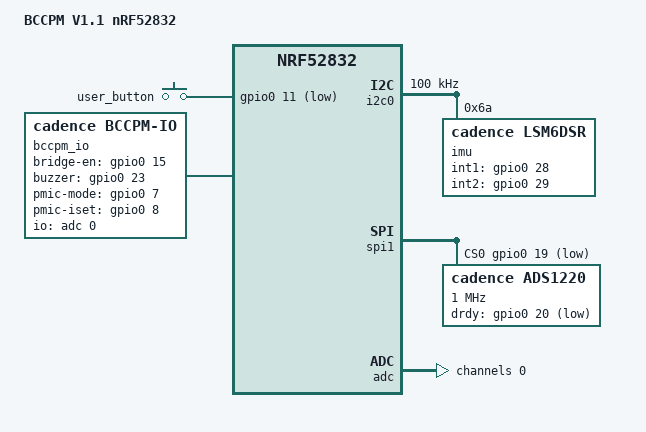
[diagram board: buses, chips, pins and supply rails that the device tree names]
/dts-v1/;
#include <nordic/nrf52832_qfaa.dtsi>
#include <zephyr/dt-bindings/gpio/gpio.h>
#include <zephyr/dt-bindings/i2c/i2c.h>
#include <zephyr/dt-bindings/adc/adc.h>
#include <zephyr/dt-bindings/adc/nrf-saadc.h>
#include <zephyr/dt-bindings/input/input-event-codes.h>
#include "bccpm_nrf52832-pinctrl.dtsi"

/ {
	model = "BCCPM V1.1 nRF52832";
	compatible = "cadence,bccpm-v1-1";
	chosen {
		zephyr,sram = &sram0;
		zephyr,flash = &flash0;
	};

	aliases {
		sw0 = &user_button;
	};

	buttons {
		compatible = "gpio-keys";
		user_button: user-button {
			gpios = <&gpio0 11 (GPIO_PULL_UP | GPIO_ACTIVE_LOW)>;
			zephyr,code = <INPUT_KEY_0>;
		};
	};

	bccpm_io: board-io {
		compatible = "cadence,bccpm-io";
		bridge-en-gpios = <&gpio0 15 GPIO_ACTIVE_HIGH>;
		buzzer-gpios = <&gpio0 23 GPIO_ACTIVE_HIGH>;
		pmic-mode-gpios = <&gpio0 7 GPIO_ACTIVE_HIGH>;
		pmic-iset-gpios = <&gpio0 8 GPIO_ACTIVE_HIGH>;
		/* Raw pin references only: polarity and safe behavior unverified. */
		bat-mon-en-pin = <6>;
		power-off-pin = <22>;
		io-channels = <&adc 0>;
	};
};

&gpio0 { status = "okay"; };
&gpiote { status = "okay"; };
&uicr { gpio-as-nreset; };
&uart0 { status = "disabled"; };

&i2c0 {
	compatible = "nordic,nrf-twim";
	status = "okay";
	clock-frequency = <I2C_BITRATE_STANDARD>;
	pinctrl-0 = <&bccpm_i2c0_default>;
	pinctrl-1 = <&bccpm_i2c0_sleep>;
	pinctrl-names = "default", "sleep";
	imu: imu@6a {
		compatible = "cadence,lsm6dsr";
		reg = <0x6a>;
		int1-gpios = <&gpio0 28 GPIO_ACTIVE_HIGH>;
		int2-gpios = <&gpio0 29 GPIO_ACTIVE_HIGH>;
	};
};

&spi1 {
	compatible = "nordic,nrf-spim";
	status = "okay";
	pinctrl-0 = <&bccpm_spi1_default>;
	pinctrl-1 = <&bccpm_spi1_sleep>;
	pinctrl-names = "default", "sleep";
	cs-gpios = <&gpio0 19 GPIO_ACTIVE_LOW>;
	ads1220: adc@0 {
		compatible = "cadence,ads1220";
		reg = <0>;
		spi-max-frequency = <1000000>;
		spi-cpha;
		drdy-gpios = <&gpio0 20 GPIO_ACTIVE_LOW>;
	};
};

&adc {
	status = "okay";
	#address-cells = <1>;
	#size-cells = <0>;
	channel@0 {
		reg = <0>;
		zephyr,gain = "ADC_GAIN_1_6";
		zephyr,reference = "ADC_REF_INTERNAL";
		zephyr,acquisition-time = <ADC_ACQ_TIME(ADC_ACQ_TIME_MICROSECONDS, 40)>;
		zephyr,input-positive = <NRF_SAADC_AIN0>;
		zephyr,resolution = <12>;
	};
};
